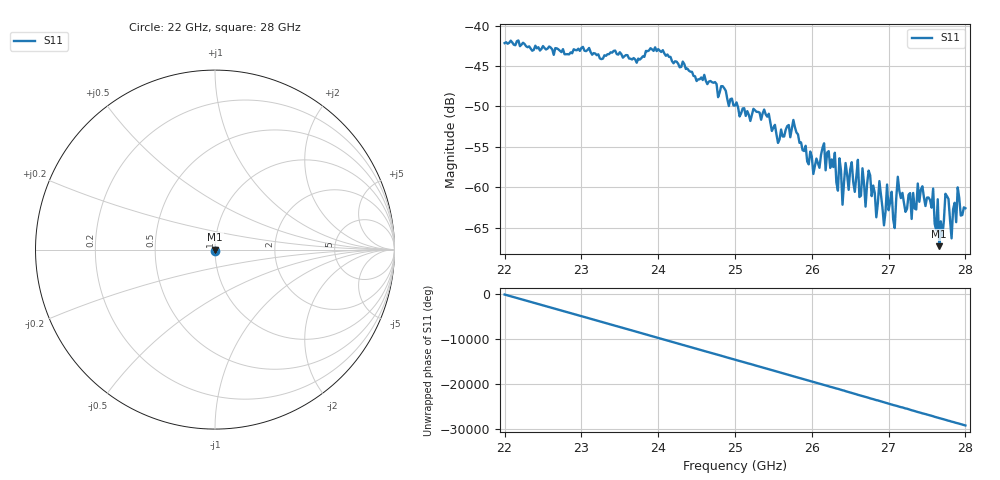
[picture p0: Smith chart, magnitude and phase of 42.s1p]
#  HZ  S  RI  R  50.00
! Rohde & Schwarz ZVA40 4Ports - Version 3.90 - 1145.1110k42 SN: 100403
! Date: 2023-10-04 08:47:41
! Measurement: S12
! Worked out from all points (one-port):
!   301 points, 22 GHz to 28 GHz, reference 50 ohm
!   lowest |S11| = -67.3 dB at 27.66 GHz (marker M1), VSWR 1.00, Z = 50 + j0.0412 ohm
!   |S11| at or under -10 dB: start of sweep to end of sweep
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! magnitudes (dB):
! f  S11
! 22 GHz  -42.1
! 22.76 GHz  -42.9
! 23.5 GHz  -43.3
! 24.26 GHz  -44.7
! 25 GHz  -49.9
! 25.76 GHz  -51.7
! 26.02 GHz  -58.4
! 26.34 GHz  -60.4
! 26.36 GHz  -56.4
! 26.4 GHz  -62.2
! 26.5 GHz  -57.8
! 26.7 GHz  -62.4
! 26.74 GHz  -58.0
! 26.84 GHz  -63.7
! 26.88 GHz  -59.2
! 26.94 GHz  -64.7
! 26.98 GHz  -59.7
! 27.08 GHz  -65.1
! 27.12 GHz  -58.7
! 27.26 GHz  -60.9
! 27.58 GHz  -60.2
! 27.62 GHz  -65.3
! 27.64 GHz  -61.5
! 27.66 GHz  -67.3
! 27.74 GHz  -60.8
! 27.82 GHz  -66.3
! 27.9 GHz  -60.0
! 28 GHz  -62.6
